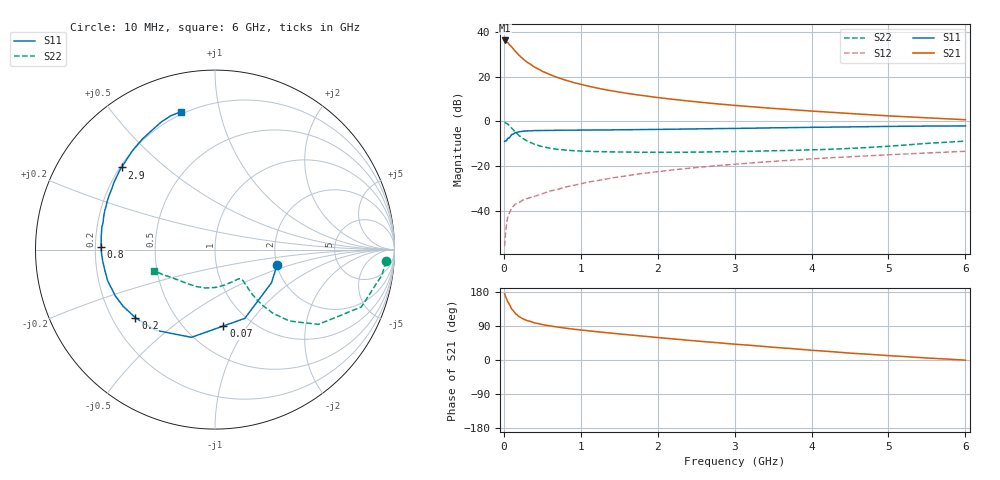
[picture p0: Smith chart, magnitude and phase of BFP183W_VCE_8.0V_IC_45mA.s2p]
! Infineon Technologies  Discrete & RF Semiconductors
! BFP183W
! VCE =  8.0 V,  IC =  45 mA
! Common Emitter S-Parameters:  Jan 2017
# GHz  S  MA  R  50
!  f  S11  S21  S12  S22
! GHz  MAG  ANG  MAG  ANG  MAG  ANG  MAG  ANG
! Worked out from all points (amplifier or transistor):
!   77 points, 10 MHz to 6 GHz, reference 50 ohm
!   highest |S21| = 36.3 dB at 10 MHz (marker M1)
!   |S21| within 3 dB of that: start of sweep to 104.1 MHz
!   unconditionally stable (mu >= 1): 814.9 MHz to 3.359 GHz
!   at 130 MHz: K = 0.36, MSG = 35.0 dB, |S12| = -37.7 dB
!   at 2.2 GHz: K = 1.06, MAG = 14.3 dB, |S12| = -21.7 dB
!   at 6 GHz: K = 0.85, MSG = 7.1 dB, |S12| = -13.4 dB
!   S11 on the Smith chart (normalised r, x): 10 MHz: 2.01, -0.39; 70 MHz: 0.75, -0.78; 200 MHz: 0.30, -0.34; 800 MHz: 0.22, +0.01; 2.9 GHz: 0.21, +0.36; 6 GHz: 0.19, +0.77
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0.01  0.3566 -13.8  65.1 174.5  0.0016 85.8  0.9553 -3.9
0.02  0.365 -30.5  63.83 168.7  0.0028 85.8  0.9407 -8.7
0.05  0.4176 -66.6  58.57 154.0  0.007 72.7  0.8757 -21.4
0.07  0.428 -83.7  53.25 147.4  0.0087 65.8  0.8038 -26.5
0.1  0.5059 -105.0  46.97 134.9  0.0113 59.3  0.7106 -35.9
0.15  0.5594 -126.6  37.16 122.7  0.0141 52.9  0.5736 -43.9
0.2  0.5837 -139.4  30.06 114.4  0.0152 49.5  0.4787 -47.7
0.25  0.6015 -148.4  25.06 108.4  0.0174 48.8  0.4123 -49.4
0.3  0.6122 -155.0  21.34 104.2  0.0186 50.1  0.3646 -50.1
0.4  0.6226 -163.7  16.45 97.9  0.021 54.7  0.3055 -50.0
0.5  0.6248 -169.5  13.28 93.5  0.0239 55.3  0.2718 -49.2
0.6  0.6287 -174.1  11.18 89.9  0.0275 57.6  0.2504 -48.6
0.7  0.6321 -177.7  9.599 86.9  0.0299 59.8  0.2361 -48.0
0.8  0.6358 178.8  8.43 84.0  0.0338 62.5  0.2281 -48.0
1.1  0.6398 171.0  6.16 77.1  0.0438 64.6  0.2139 -49.6
1.5  0.6482 162.6  4.531 68.9  0.057 65.3  0.2062 -54.5
2.1  0.6646 151.4  3.269 57.5  0.0783 64.1  0.2028 -66.9
2.9  0.6931 138.7  2.365 43.5  0.1063 60.5  0.2098 -88.0
3.1  0.6993 135.7  2.215 40.3  0.1131 59.3  0.2121 -93.3
4.1  0.7394 122.2  1.663 24.3  0.1478 53.1  0.2332 -120.3
5.1  0.7743 111.8  1.303 10.4  0.1819 46.6  0.2858 -146.7
6  0.7912 103.9  1.089 -0.5  0.2137 40.3  0.3615 -161.1
